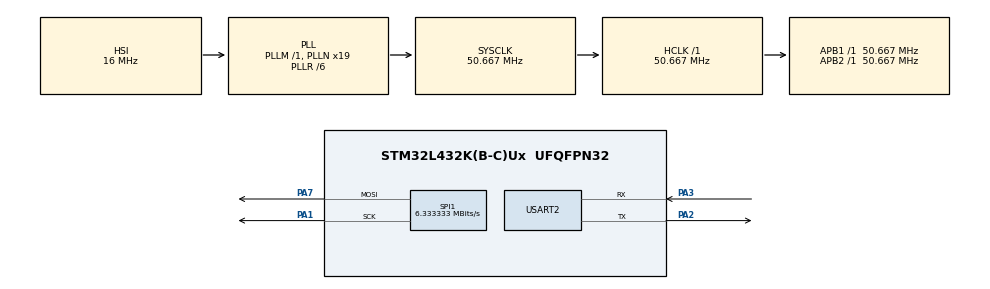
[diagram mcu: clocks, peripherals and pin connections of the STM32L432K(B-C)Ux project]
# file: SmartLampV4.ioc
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Dma.Request0=SPI1_TX
Dma.SPI1_TX.0.Direction=DMA_MEMORY_TO_PERIPH
Dma.SPI1_TX.0.Instance=DMA1_Channel3
Dma.SPI1_TX.0.MemDataAlignment=DMA_MDATAALIGN_BYTE
Dma.SPI1_TX.0.MemInc=DMA_MINC_ENABLE
Dma.SPI1_TX.0.Mode=DMA_NORMAL
Dma.SPI1_TX.0.PeriphDataAlignment=DMA_PDATAALIGN_BYTE
Dma.SPI1_TX.0.PeriphInc=DMA_PINC_DISABLE
Dma.SPI1_TX.0.Priority=DMA_PRIORITY_LOW
Mcu.Family=STM32L4
Mcu.Name=STM32L432K(B-C)Ux
Mcu.Package=UFQFPN32
NVIC.DMA1_Channel3_IRQn=true\:0\:0\:false\:false\:true\:false\:true
NVIC.PriorityGroup=NVIC_PRIORITYGROUP_4
PA1.Mode=TX_Only_Simplex_Unidirect_Master
PA1.Signal=SPI1_SCK
PA2.Mode=Asynchronous
PA2.Signal=USART2_TX
PA3.Mode=Asynchronous
PA3.Signal=USART2_RX
PA7.Mode=TX_Only_Simplex_Unidirect_Master
PA7.Signal=SPI1_MOSI
ProjectManager.HeapSize=0x200
ProjectManager.StackSize=0x400
ProjectManager.TargetToolchain=STM32CubeIDE
RCC.ADCFreq_Value=64000000
RCC.AHBFreq_Value=50666666.666666664
RCC.APB1Freq_Value=50666666.666666664
RCC.APB1TimFreq_Value=50666666.666666664
RCC.APB2Freq_Value=50666666.666666664
RCC.APB2TimFreq_Value=50666666.666666664
RCC.CortexFreq_Value=50666666.666666664
RCC.HCLKFreq_Value=50666666.666666664
RCC.HSE_VALUE=8000000
RCC.HSI48_VALUE=48000000
RCC.HSI_VALUE=16000000
RCC.LSE_VALUE=32768
RCC.MSI_VALUE=4000000
RCC.PLLN=19
RCC.PLLR=RCC_PLLR_DIV6
RCC.PLLSourceVirtual=RCC_PLLSOURCE_HSI
RCC.SYSCLKFreq_VALUE=50666666.666666664
RCC.SYSCLKSource=RCC_SYSCLKSOURCE_PLLCLK
RCC.USBFreq_Value=64000000
RCC.VCOOutputFreq_Value=304000000
SPI1.BaudRatePrescaler=SPI_BAUDRATEPRESCALER_8
SPI1.CLKPolarity=SPI_POLARITY_HIGH
SPI1.CalculateBaudRate=6.333333 MBits/s
SPI1.Direction=SPI_DIRECTION_2LINES
SPI1.Mode=SPI_MODE_MASTER
SPI1.VirtualType=VM_MASTER
USART2.VirtualMode-Asynchronous=VM_ASYNC
board=custom

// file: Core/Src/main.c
/* USER CODE BEGIN Header */
///**
//  ******************************************************************************
//  * @file           : main.c
//  * @brief          : Main program body
//  ******************************************************************************
//  * @attention
//  *
//  * <h2><center>&copy; Copyright (c) 2021 STMicroelectronics.
//  * All rights reserved.</center></h2>
//  *
//  * This software component is licensed by ST under BSD 3-Clause license,
//  * the "License"; You may not use this file except in compliance with the
//  * License. You may obtain a copy of the License at:
//  *                        opensource.org/licenses/BSD-3-Clause
//  *
//  ******************************************************************************
//  */
/* USER CODE END Header */

#include "main.h"
/* USER CODE BEGIN Includes */
#include "ws2812b.h"
/* USER CODE END Includes */

/* USER CODE BEGIN PD */
//#if defined (TEST_ENABLED)
//#include "../Tests/ws2812b_tests.h"
//#define TEST 1
//#else
//#define TEST 0
//#endif
/* USER CODE END PD */

SPI_HandleTypeDef hspi1;
DMA_HandleTypeDef hdma_spi1_tx;

UART_HandleTypeDef huart2;

void SystemClock_Config(void);
static void MX_GPIO_Init(void);
static void MX_DMA_Init(void);
static void MX_USART2_UART_Init(void);
static void MX_SPI1_Init(void);

int main(void)
{

  /* MCU Configuration--------------------------------------------------------*/

  /* Reset of all peripherals, Initializes the Flash interface and the Systick. */
  HAL_Init();

  /* Configure the system clock */
  SystemClock_Config();

  /* Initialize all configured peripherals */
  MX_GPIO_Init();
  MX_DMA_Init();
  MX_USART2_UART_Init();
  MX_SPI1_Init();
  /* USER CODE BEGIN 2 */

  /*
   * The LED strip uses PA7, PA7 is AF#0 (SPI1 SDO / MOSI).
   * - set to alt func mode
   * - set AF5 for PA7 is SPI1_MOSI (GPIO_AFRL_AFSEL5)
   */
  GPIOA->MODER  &= ~( 0x3 << ( 7 * 2 ) );
  GPIOA->MODER  |= ( 0x2 << ( 7 * 2 ) );
  GPIOA->AFR[0] &= ~( 0x00 << (7 * 2) );
  GPIOA->AFR[0] |= ( 0x5 << (7 * 4) );

  /*
   * GPIO config
   * - set as input
   * - enable pull up resistor
   *
   * Button pins
   * - Power button uses PA0
   * - Mode switch left uses PA1
   * - Mode switch right uses PA3
   */
  GPIOA->MODER	&= ~( (0x3 << 0 * 2 ) | (0x3 << 1 * 2 ) | (0x3 << 3 * 2 ) );
  GPIOA->PUPDR  &= ~( (0x0 << 0 * 2 ) | (0x0 << 1 * 2 ) | (0x0 << 3 * 2 ) );
  GPIOA->MODER  |=  ( (0x0 << 0 * 2 ) | (0x0 << 1 * 2 ) | (0x0 << 3 * 2 ) );
  GPIOA->PUPDR  |=  ( (0x1 << 0 * 2 ) | (0x1 << 1 * 2 ) | (0x1 << 3 * 2 ) );

  /*
   * DMA config (ch1)
   * - Memory to peripheral
   * - Circular mode
   * - Increment memory ptr, don't increment peripheral ptr
   * - Bit data size for both source and destination
   * - High priority
   */
  DMA1_Channel3->CCR &= ~( DMA_CCR_MEM2MEM |
						   DMA_CCR_PL |
						   DMA_CCR_MSIZE |
						   DMA_CCR_PSIZE |
						   DMA_CCR_PINC |
						   DMA_CCR_EN );
  DMA1_Channel3->CCR |=  (( 0x2 << DMA_CCR_PL_Pos ) |
						   DMA_CCR_MINC |
						   DMA_CCR_CIRC |
						   DMA_CCR_DIR );

  // Source: Address of the framebuffer.
  DMA1_Channel3->CMAR  = ( uint32_t )&COLORS;
  // Destination: SPI1 data register.
  DMA1_Channel3->CPAR  = ( uint32_t )&( SPI1->DR );
  // Set DMA data transfer length (framebuffer length).
  DMA1_Channel3->CNDTR = ( uint16_t )LED_BYTES;

  /*
   * SPI1 configuration:
   * - Clock phase = 1
   * - Clock polarity = 1
   * - Enable software peripheral control
   * - MSB first
   * - 8-bit frames
   * - Baud rate prescaler of 8
   * - TX DMA requests enabled.
   */
  SPI1->CR1 &= ~( SPI_CR1_LSBFIRST |
				  SPI_CR1_BR );
  SPI1->CR1 |=  ( SPI_CR1_SSM |
				  SPI_CR1_SSI |
				  0x2 << SPI_CR1_BR_Pos |
				  SPI_CR1_MSTR |
				  SPI_CR1_CPOL |
				  SPI_CR1_CPHA );
  SPI1->CR2 &= ~( SPI_CR2_DS );
  SPI1->CR2 |=  ( 0x7 << SPI_CR2_DS_Pos |
				  SPI_CR2_TXDMAEN );

  SPI1->CR1 |=  ( SPI_CR1_SPE );
  DMA1_Channel3->CCR |= ( DMA_CCR_EN );

  init_fire_effect();
  unsigned int on_state = 1;
  unsigned int mode = 1;
  unsigned int mode_upper_bound = 4;
  /* USER CODE END 2 */

  /* Infinite loop */
  /* USER CODE BEGIN WHILE */

  // test build config program loop
//  if (TEST == 1)
//  {
//	  test_main();
//	  return;
//  }

  while (1)
  {
	/* USER CODE END WHILE */

	/* USER CODE BEGIN 3 */

	// power switching logic
//	if ( !(GPIOA->IDR & ( 1 << 3)) )
//	{
//		if (on_state == 1)
//		{
//			on_state = 0;
//			reset_leds();
//			delay_cycles( 2000000 );
//		}
//		else
//		{
//			on_state = 1;
//			init_fire_effect();
//		}
//	}
//

	if (on_state == 1)
	{
		// mode switching logic
		if ( !(GPIOA->IDR & ( 1 << 1 )) )
		{
			mode -= 1;
			if (mode <= 0)
			{
				mode = mode_upper_bound;
			}
			delay_cycles( 1000000 );
			init_fire_effect();
		}
		else if ( !(GPIOA->IDR & ( 1 << 0 )) )
		{
			mode += 1;
			if (mode > mode_upper_bound)
			{
				mode = 1;
			}
			delay_cycles( 1000000 );
			init_fire_effect();
		}

		// LED animation logic
		if (mode == 1)
		{
			set_fire_effect();
		}
		else if (mode == 2)
		{
			set_bi_effect();
		}
		else if (mode == 3)
		{
			set_funky_effect();
		}
		else if (mode == 4)
		{
			set_L_effect();
		}

	}

  }
  /* USER CODE END 3 */
}

void SystemClock_Config(void)
{
  RCC_OscInitTypeDef RCC_OscInitStruct = {0};
  RCC_ClkInitTypeDef RCC_ClkInitStruct = {0};
  RCC_PeriphCLKInitTypeDef PeriphClkInit = {0};

  /** Initializes the CPU, AHB and APB busses clocks
  */
  RCC_OscInitStruct.OscillatorType = RCC_OSCILLATORTYPE_HSI;
  RCC_OscInitStruct.HSIState = RCC_HSI_ON;
  RCC_OscInitStruct.HSICalibrationValue = RCC_HSICALIBRATION_DEFAULT;
  RCC_OscInitStruct.PLL.PLLState = RCC_PLL_ON;
  RCC_OscInitStruct.PLL.PLLSource = RCC_PLLSOURCE_HSI;
  RCC_OscInitStruct.PLL.PLLM = 1;
  RCC_OscInitStruct.PLL.PLLN = 19;
  RCC_OscInitStruct.PLL.PLLP = RCC_PLLP_DIV7;
  RCC_OscInitStruct.PLL.PLLQ = RCC_PLLQ_DIV2;
  RCC_OscInitStruct.PLL.PLLR = RCC_PLLR_DIV6;
  if (HAL_RCC_OscConfig(&RCC_OscInitStruct) != HAL_OK)
  {
    Error_Handler();
  }
  /** Initializes the CPU, AHB and APB busses clocks
  */
  RCC_ClkInitStruct.ClockType = RCC_CLOCKTYPE_HCLK|RCC_CLOCKTYPE_SYSCLK
                              |RCC_CLOCKTYPE_PCLK1|RCC_CLOCKTYPE_PCLK2;
  RCC_ClkInitStruct.SYSCLKSource = RCC_SYSCLKSOURCE_PLLCLK;
  RCC_ClkInitStruct.AHBCLKDivider = RCC_SYSCLK_DIV1;
  RCC_ClkInitStruct.APB1CLKDivider = RCC_HCLK_DIV1;
  RCC_ClkInitStruct.APB2CLKDivider = RCC_HCLK_DIV1;

  if (HAL_RCC_ClockConfig(&RCC_ClkInitStruct, FLASH_LATENCY_3) != HAL_OK)
  {
    Error_Handler();
  }
  PeriphClkInit.PeriphClockSelection = RCC_PERIPHCLK_USART2;
  PeriphClkInit.Usart2ClockSelection = RCC_USART2CLKSOURCE_PCLK1;
  if (HAL_RCCEx_PeriphCLKConfig(&PeriphClkInit) != HAL_OK)
  {
    Error_Handler();
  }
  /** Configure the main internal regulator output voltage
  */
  if (HAL_PWREx_ControlVoltageScaling(PWR_REGULATOR_VOLTAGE_SCALE1) != HAL_OK)
  {
    Error_Handler();
  }
}

static void MX_SPI1_Init(void)
{

  /* SPI1 parameter configuration*/
  hspi1.Instance = SPI1;
  hspi1.Init.Mode = SPI_MODE_MASTER;
  hspi1.Init.Direction = SPI_DIRECTION_2LINES;
  hspi1.Init.DataSize = SPI_DATASIZE_4BIT;
  hspi1.Init.CLKPolarity = SPI_POLARITY_HIGH;
  hspi1.Init.CLKPhase = SPI_PHASE_1EDGE;
  hspi1.Init.NSS = SPI_NSS_SOFT;
  hspi1.Init.BaudRatePrescaler = SPI_BAUDRATEPRESCALER_8;
  hspi1.Init.FirstBit = SPI_FIRSTBIT_MSB;
  hspi1.Init.TIMode = SPI_TIMODE_DISABLE;
  hspi1.Init.CRCCalculation = SPI_CRCCALCULATION_DISABLE;
  hspi1.Init.CRCPolynomial = 7;
  hspi1.Init.CRCLength = SPI_CRC_LENGTH_DATASIZE;
  hspi1.Init.NSSPMode = SPI_NSS_PULSE_ENABLE;
  if (HAL_SPI_Init(&hspi1) != HAL_OK)
  {
    Error_Handler();
  }

}

static void MX_USART2_UART_Init(void)
{

  huart2.Instance = USART2;
  huart2.Init.BaudRate = 115200;
  huart2.Init.WordLength = UART_WORDLENGTH_8B;
  huart2.Init.StopBits = UART_STOPBITS_1;
  huart2.Init.Parity = UART_PARITY_NONE;
  huart2.Init.Mode = UART_MODE_TX_RX;
  huart2.Init.HwFlowCtl = UART_HWCONTROL_NONE;
  huart2.Init.OverSampling = UART_OVERSAMPLING_16;
  huart2.Init.OneBitSampling = UART_ONE_BIT_SAMPLE_DISABLE;
  huart2.AdvancedInit.AdvFeatureInit = UART_ADVFEATURE_NO_INIT;
  if (HAL_UART_Init(&huart2) != HAL_OK)
  {
    Error_Handler();
  }

}

static void MX_DMA_Init(void)
{

  /* DMA controller clock enable */
  __HAL_RCC_DMA1_CLK_ENABLE();

  /* DMA interrupt init */
  /* DMA1_Channel3_IRQn interrupt configuration */
  HAL_NVIC_SetPriority(DMA1_Channel3_IRQn, 0, 0);
  HAL_NVIC_EnableIRQ(DMA1_Channel3_IRQn);

}

static void MX_GPIO_Init(void)
{

  /* GPIO Ports Clock Enable */
  __HAL_RCC_GPIOA_CLK_ENABLE();

}

void Error_Handler(void)
{
}

/************************ (C) COPYRIGHT STMicroelectronics *****END OF FILE****/
